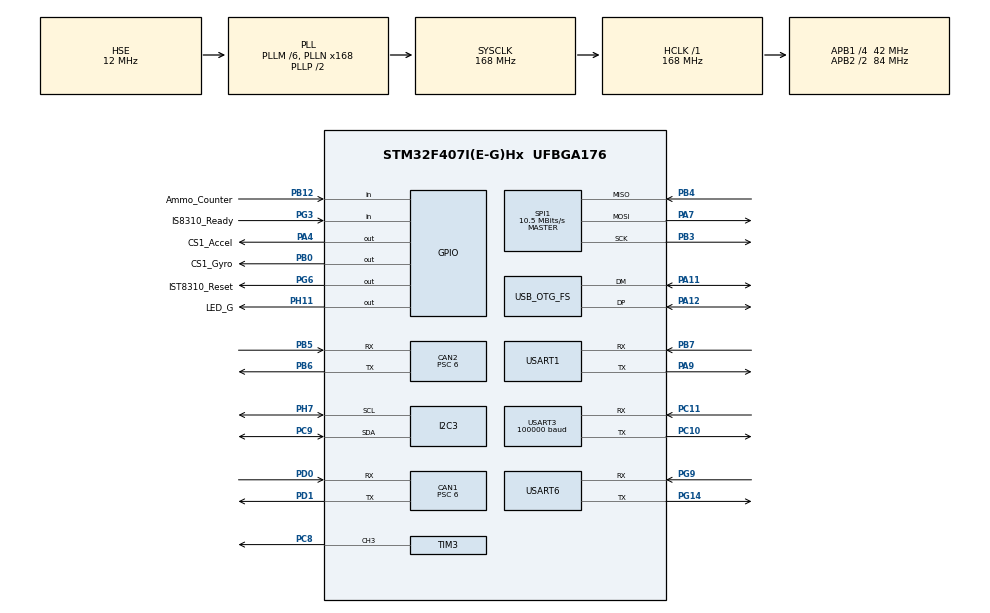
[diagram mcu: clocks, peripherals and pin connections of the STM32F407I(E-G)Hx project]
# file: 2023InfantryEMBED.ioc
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CAN1.ABOM=ENABLE
CAN1.BS1=CAN_BS1_4TQ
CAN1.BS2=CAN_BS2_2TQ
CAN1.CalculateBaudRate=1000000
CAN1.CalculateTimeBit=1000
CAN1.CalculateTimeQuantum=142.85714285714286
CAN1.Prescaler=6
CAN2.ABOM=ENABLE
CAN2.BS1=CAN_BS1_4TQ
CAN2.BS2=CAN_BS2_2TQ
CAN2.CalculateBaudRate=1000000
CAN2.CalculateTimeBit=1000
CAN2.CalculateTimeQuantum=142.85714285714286
CAN2.Prescaler=6
Dma.Request0=USART3_RX
Dma.Request1=USART1_RX
Dma.Request2=USART6_RX
Dma.USART1_RX.1.Direction=DMA_PERIPH_TO_MEMORY
Dma.USART1_RX.1.FIFOMode=DMA_FIFOMODE_DISABLE
Dma.USART1_RX.1.Instance=DMA2_Stream2
Dma.USART1_RX.1.MemDataAlignment=DMA_MDATAALIGN_BYTE
Dma.USART1_RX.1.MemInc=DMA_MINC_ENABLE
Dma.USART1_RX.1.Mode=DMA_CIRCULAR
Dma.USART1_RX.1.PeriphDataAlignment=DMA_PDATAALIGN_BYTE
Dma.USART1_RX.1.PeriphInc=DMA_PINC_DISABLE
Dma.USART1_RX.1.Priority=DMA_PRIORITY_HIGH
Dma.USART3_RX.0.Direction=DMA_PERIPH_TO_MEMORY
Dma.USART3_RX.0.FIFOMode=DMA_FIFOMODE_DISABLE
Dma.USART3_RX.0.Instance=DMA1_Stream1
Dma.USART3_RX.0.MemDataAlignment=DMA_MDATAALIGN_BYTE
Dma.USART3_RX.0.MemInc=DMA_MINC_ENABLE
Dma.USART3_RX.0.Mode=DMA_CIRCULAR
Dma.USART3_RX.0.PeriphDataAlignment=DMA_PDATAALIGN_BYTE
Dma.USART3_RX.0.PeriphInc=DMA_PINC_DISABLE
Dma.USART3_RX.0.Priority=DMA_PRIORITY_VERY_HIGH
Dma.USART6_RX.2.Direction=DMA_PERIPH_TO_MEMORY
Dma.USART6_RX.2.FIFOMode=DMA_FIFOMODE_DISABLE
Dma.USART6_RX.2.Instance=DMA2_Stream1
Dma.USART6_RX.2.MemDataAlignment=DMA_MDATAALIGN_BYTE
Dma.USART6_RX.2.MemInc=DMA_MINC_ENABLE
Dma.USART6_RX.2.Mode=DMA_CIRCULAR
Dma.USART6_RX.2.PeriphDataAlignment=DMA_PDATAALIGN_BYTE
Dma.USART6_RX.2.PeriphInc=DMA_PINC_DISABLE
Dma.USART6_RX.2.Priority=DMA_PRIORITY_VERY_HIGH
FREERTOS.Tasks01=defaultTask,8,128,StartDefaultTask,Default,NULL,Dynamic,NULL,NULL
FREERTOS.configENABLE_FPU=1
FREERTOS.configIDLE_SHOULD_YIELD=0
FREERTOS.configUSE_NEWLIB_REENTRANT=1
FREERTOS.configUSE_PREEMPTION=0
I2C3.I2C_Mode=I2C_Fast
Mcu.Family=STM32F4
Mcu.Name=STM32F407I(E-G)Hx
Mcu.Package=UFBGA176
NVIC.CAN1_RX0_IRQn=true\:5\:0\:false\:false\:true\:true\:true\:true\:true
NVIC.CAN1_RX1_IRQn=true\:5\:0\:false\:false\:true\:true\:true\:true\:true
NVIC.CAN1_SCE_IRQn=true\:5\:0\:false\:false\:true\:true\:true\:true\:true
NVIC.CAN1_TX_IRQn=true\:5\:0\:true\:false\:true\:true\:true\:true\:true
NVIC.CAN2_RX0_IRQn=true\:5\:0\:false\:false\:true\:true\:true\:true\:true
NVIC.CAN2_RX1_IRQn=true\:5\:0\:false\:false\:true\:true\:true\:true\:true
NVIC.CAN2_SCE_IRQn=true\:5\:0\:false\:false\:true\:true\:true\:true\:true
NVIC.CAN2_TX_IRQn=true\:5\:0\:false\:false\:true\:true\:true\:true\:true
NVIC.DMA1_Stream1_IRQn=true\:5\:0\:false\:false\:true\:true\:false\:true\:true
NVIC.DMA2_Stream1_IRQn=true\:5\:0\:false\:false\:true\:true\:false\:true\:true
NVIC.DMA2_Stream2_IRQn=true\:5\:0\:false\:false\:true\:true\:false\:true\:true
NVIC.FLASH_IRQn=true\:5\:0\:false\:false\:true\:true\:true\:true\:true
NVIC.OTG_FS_IRQn=true\:6\:0\:true\:false\:true\:true\:false\:true\:true
NVIC.PriorityGroup=NVIC_PRIORITYGROUP_4
NVIC.RCC_IRQn=true\:5\:0\:false\:false\:true\:true\:true\:false\:true
NVIC.SPI1_IRQn=true\:6\:0\:true\:false\:true\:true\:true\:true\:true
NVIC.TIM5_IRQn=true\:5\:0\:false\:false\:true\:true\:true\:true\:true
NVIC.TIM6_DAC_IRQn=true\:15\:0\:false\:false\:true\:false\:false\:true\:true
NVIC.TimeBase=TIM6_DAC_IRQn
NVIC.TimeBaseIP=TIM6
NVIC.USART1_IRQn=true\:7\:0\:true\:false\:true\:true\:true\:true\:true
NVIC.USART3_IRQn=true\:6\:0\:true\:true\:true\:1\:true\:true\:true\:true
NVIC.USART6_IRQn=true\:6\:0\:true\:false\:true\:true\:true\:true\:true
PA11.Mode=Device_Only
PA11.Signal=USB_OTG_FS_DM
PA12.Mode=Device_Only
PA12.Signal=USB_OTG_FS_DP
PA13.Mode=Serial_Wire
PA13.Signal=SYS_JTMS-SWDIO
PA14.Mode=Serial_Wire
PA14.Signal=SYS_JTCK-SWCLK
PA4.GPIO_Label=CS1_Accel
PA4.GPIO_PuPd=GPIO_PULLUP
PA4.GPIO_Speed=GPIO_SPEED_FREQ_VERY_HIGH
PA4.Signal=GPIO_Output
PA7.Mode=Full_Duplex_Master
PA7.Signal=SPI1_MOSI
PA9.Mode=Asynchronous
PA9.Signal=USART1_TX
PB0.GPIO_Label=CS1_Gyro
PB0.GPIO_PuPd=GPIO_PULLUP
PB0.GPIO_Speed=GPIO_SPEED_FREQ_VERY_HIGH
PB0.Signal=GPIO_Output
PB12.GPIO_Label=Ammo_Counter
PB12.GPIO_PuPd=GPIO_PULLUP
PB12.Signal=GPIO_Input
PB3.Mode=Full_Duplex_Master
PB3.Signal=SPI1_SCK
PB4.Mode=Full_Duplex_Master
PB4.Signal=SPI1_MISO
PB5.Mode=CAN_Activate
PB5.Signal=CAN2_RX
PB6.Mode=CAN_Activate
PB6.Signal=CAN2_TX
PB7.Mode=Asynchronous
PB7.Signal=USART1_RX
PC10.GPIO_PuPd=GPIO_NOPULL
PC10.Mode=Asynchronous
PC10.Signal=USART3_TX
PC11.GPIO_PuPd=GPIO_NOPULL
PC11.Mode=Asynchronous
PC11.Signal=USART3_RX
PC8.Signal=S_TIM3_CH3
PC9.Mode=I2C
PC9.Signal=I2C3_SDA
PD0.Mode=CAN_Activate
PD0.Signal=CAN1_RX
PD1.Mode=CAN_Activate
PD1.Signal=CAN1_TX
PE9.GPIO_Speed=GPIO_SPEED_FREQ_HIGH
PE9.Signal=S_TIM1_CH1
PG14.Mode=Asynchronous
PG14.Signal=USART6_TX
PG3.GPIO_Label=IS8310_Ready
PG3.Signal=GPIO_Input
PG6.GPIO_Label=IST8310_Reset
PG6.GPIO_PuPd=GPIO_PULLUP
PG6.PinState=GPIO_PIN_SET
PG6.Signal=GPIO_Output
PG9.Mode=Asynchronous
PG9.Signal=USART6_RX
PH0-OSC_IN.Mode=HSE-External-Oscillator
PH0-OSC_IN.Signal=RCC_OSC_IN
PH1-OSC_OUT.Mode=HSE-External-Oscillator
PH1-OSC_OUT.Signal=RCC_OSC_OUT
PH11.GPIO_Label=LED_G
PH11.Signal=GPIO_Output
PH7.Mode=I2C
PH7.Signal=I2C3_SCL
ProjectManager.HeapSize=0x200
ProjectManager.StackSize=0x400
ProjectManager.TargetToolchain=STM32CubeIDE
RCC.48MHZClocksFreq_Value=48000000
RCC.AHBFreq_Value=168000000
RCC.APB1CLKDivider=RCC_HCLK_DIV4
RCC.APB1Freq_Value=42000000
RCC.APB1TimFreq_Value=84000000
RCC.APB2CLKDivider=RCC_HCLK_DIV2
RCC.APB2Freq_Value=84000000
RCC.APB2TimFreq_Value=168000000
RCC.CortexFreq_Value=168000000
RCC.HCLKFreq_Value=168000000
RCC.HSE_VALUE=12000000
RCC.HSI_VALUE=16000000
RCC.LSE_VALUE=32768
RCC.PLLM=6
RCC.PLLN=168
RCC.PLLQ=7
RCC.SYSCLKFreq_VALUE=168000000
RCC.SYSCLKSource=RCC_SYSCLKSOURCE_PLLCLK
RCC.VCOOutputFreq_Value=336000000
SH.S_TIM1_CH1.0=TIM1_CH1
SH.S_TIM3_CH3.0=TIM3_CH3,PWM Generation3 CH3
SPI1.BaudRatePrescaler=SPI_BAUDRATEPRESCALER_8
SPI1.CLKPhase=SPI_PHASE_2EDGE
SPI1.CLKPolarity=SPI_POLARITY_HIGH
SPI1.CalculateBaudRate=10.5 MBits/s
SPI1.Direction=SPI_DIRECTION_2LINES
SPI1.Mode=SPI_MODE_MASTER
SPI1.VirtualType=VM_MASTER
TIM3.Channel-PWM\ Generation3\ CH3=TIM_CHANNEL_3
TIM3.Prescaler=168-1
TIM5.AutoReloadPreload=TIM_AUTORELOAD_PRELOAD_DISABLE
TIM5.Period=500-1
TIM5.Prescaler=168-1
USART1.VirtualMode=VM_ASYNC
USART3.BaudRate=100000
USART3.Mode=MODE_RX
USART3.Parity=PARITY_EVEN
USART3.VirtualMode=VM_ASYNC
USART3.WordLength=WORDLENGTH_9B
USART6.VirtualMode=VM_ASYNC
USB_DEVICE.CLASS_NAME_FS=CDC
USB_DEVICE.VirtualMode-CDC_FS=Cdc
USB_DEVICE.VirtualModeFS=Cdc_FS
USB_OTG_FS.VirtualMode=Device_Only
VP_FREERTOS_VS_CMSIS_V2.Mode=CMSIS_V2
VP_SYS_VS_tim6.Mode=TIM6
VP_TIM3_VS_ClockSourceINT.Mode=Internal
VP_TIM5_VS_ClockSourceINT.Mode=Internal
VP_USB_DEVICE_VS_USB_DEVICE_CDC_FS.Mode=CDC_FS
board=custom

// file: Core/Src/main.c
/* USER CODE BEGIN Header */
/**
  ******************************************************************************
  * @file           : main.c
  * @brief          : Main program body
  ******************************************************************************
  * @attention
  *
  * Copyright (c) 2023 STMicroelectronics.
  * All rights reserved.
  *
  * This software is licensed under terms that can be found in the LICENSE file
  * in the root directory of this software component.
  * If no LICENSE file comes with this software, it is provided AS-IS.
  *
  ******************************************************************************
  */
/* USER CODE END Header */
#include "main.h"
#include "cmsis_os.h"
#include "can.h"
#include "dma.h"
#include "i2c.h"
#include "spi.h"
#include "tim.h"
#include "usart.h"
#include "usb_device.h"
#include "gpio.h"

/* USER CODE BEGIN Includes */

#include "../Core/Instance/IMU/imu.h"
#include "../Core/Algorithm/solveTrajectory/SolveTrajectory.h"
#include "../Core/Instance/referee/referee.h"
#include "../Core/Instance/remote/remote.h"
#include "../Core/Instance/SIN/sin.h"
/* USER CODE END Includes */

void SystemClock_Config(void);
void MX_FREERTOS_Init(void);
static void MX_NVIC_Init(void);
/* USER CODE BEGIN PFP */
void Can_Filter1Config(void);
void HAL_TIM_PeriodElapsedCallback(TIM_HandleTypeDef *htim);
extern void ControlInit();
extern void CanInit(void);
extern void MotorInit(void);
extern void GimbalInit(void);
extern void CANBusInit(void);
extern void ChassisInit(void);
extern void UI_taskInit(void);

/* USER CODE END PFP */

int main(void)
{

  /* MCU Configuration--------------------------------------------------------*/

  /* Reset of all peripherals, Initializes the Flash interface and the Systick. */
  HAL_Init();

  /* Configure the system clock */
  SystemClock_Config();

  /* Initialize all configured peripherals */
  MX_GPIO_Init();
  MX_DMA_Init();
  MX_USART1_UART_Init();
  MX_CAN1_Init();
  MX_TIM5_Init();
  MX_SPI1_Init();
  MX_USART3_UART_Init();
  MX_I2C3_Init();
  MX_USART6_UART_Init();
  MX_TIM3_Init();
  MX_CAN2_Init();

  /* Initialize interrupts */
  MX_NVIC_Init();
  /* USER CODE BEGIN 2 */
  HAL_CAN_ActivateNotification(&hcan1, CAN_IT_RX_FIFO0_MSG_PENDING);
  HAL_CAN_Start(&hcan1);
  #ifdef USE_CAN2
    HAL_CAN_ActivateNotification(&hcan2, CAN_IT_RX_FIFO0_MSG_PENDING);
    HAL_CAN_Start(&hcan2);
  #endif
  /* 模块初始化 */
  MotorInit();
  CanInit();
  IMUInit();
  RemoteInit();
  RefereeInit();
  /* 任务初始化 */
  ControlInit();
  CANBusInit();
  GimbalInit();
  ChassisInit();
  UI_taskInit();
  /* USER CODE END 2 */

  /* Init scheduler */
  osKernelInitialize();  /* Call init function for freertos objects (in freertos.c) */
  MX_FREERTOS_Init();

  /* Start scheduler */
  osKernelStart();

  /* We should never get here as control is now taken by the scheduler */
  /* Infinite loop */
  /* USER CODE BEGIN WHILE */
  while (1)
  {

	  HAL_GPIO_TogglePin(LED_G_GPIO_Port, LED_G_Pin);
	  HAL_Delay(500);

    /* USER CODE END WHILE */

  }
}

void SystemClock_Config(void)
{
  RCC_OscInitTypeDef RCC_OscInitStruct = {0};
  RCC_ClkInitTypeDef RCC_ClkInitStruct = {0};

  /** Configure the main internal regulator output voltage
  */
  __HAL_RCC_PWR_CLK_ENABLE();
  __HAL_PWR_VOLTAGESCALING_CONFIG(PWR_REGULATOR_VOLTAGE_SCALE1);

  /** Initializes the RCC Oscillators according to the specified parameters
  * in the RCC_OscInitTypeDef structure.
  */
  RCC_OscInitStruct.OscillatorType = RCC_OSCILLATORTYPE_HSE;
  RCC_OscInitStruct.HSEState = RCC_HSE_ON;
  RCC_OscInitStruct.PLL.PLLState = RCC_PLL_ON;
  RCC_OscInitStruct.PLL.PLLSource = RCC_PLLSOURCE_HSE;
  RCC_OscInitStruct.PLL.PLLM = 6;
  RCC_OscInitStruct.PLL.PLLN = 168;
  RCC_OscInitStruct.PLL.PLLP = RCC_PLLP_DIV2;
  RCC_OscInitStruct.PLL.PLLQ = 7;
  if (HAL_RCC_OscConfig(&RCC_OscInitStruct) != HAL_OK)
  {
    Error_Handler();
  }

  /** Initializes the CPU, AHB and APB buses clocks
  */
  RCC_ClkInitStruct.ClockType = RCC_CLOCKTYPE_HCLK|RCC_CLOCKTYPE_SYSCLK
                              |RCC_CLOCKTYPE_PCLK1|RCC_CLOCKTYPE_PCLK2;
  RCC_ClkInitStruct.SYSCLKSource = RCC_SYSCLKSOURCE_PLLCLK;
  RCC_ClkInitStruct.AHBCLKDivider = RCC_SYSCLK_DIV1;
  RCC_ClkInitStruct.APB1CLKDivider = RCC_HCLK_DIV4;
  RCC_ClkInitStruct.APB2CLKDivider = RCC_HCLK_DIV2;

  if (HAL_RCC_ClockConfig(&RCC_ClkInitStruct, FLASH_LATENCY_5) != HAL_OK)
  {
    Error_Handler();
  }
}

/**
  * @brief NVIC Configuration.
  * @retval None
  */
static void MX_NVIC_Init(void)
{
  /* USART3_IRQn interrupt configuration */
  HAL_NVIC_SetPriority(USART3_IRQn, 6, 0);
  HAL_NVIC_EnableIRQ(USART3_IRQn);
}

/* USER CODE BEGIN 4 */

void PWM_INIT(){
	  HAL_TIM_Base_Start(&htim3);
	  HAL_TIM_PWM_Start(&htim3, TIM_CHANNEL_3);
}
/* USER CODE END 4 */

void HAL_TIM_PeriodElapsedCallback(TIM_HandleTypeDef *htim)
{
  /* USER CODE BEGIN Callback 0 */
  if(htim->Instance == TIM5)
  {

  }
  /* USER CODE END Callback 0 */
  if (htim->Instance == TIM6) {
    HAL_IncTick();
  }
}

void Error_Handler(void)
{
  __disable_irq();
  while (1)
  {
  }
}

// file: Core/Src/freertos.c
/* USER CODE BEGIN Header */
/**
  ******************************************************************************
  * File Name          : freertos.c
  * Description        : Code for freertos applications
  ******************************************************************************
  * @attention
  *
  * Copyright (c) 2023 STMicroelectronics.
  * All rights reserved.
  *
  * This software is licensed under terms that can be found in the LICENSE file
  * in the root directory of this software component.
  * If no LICENSE file comes with this software, it is provided AS-IS.
  *
  ******************************************************************************
  */
/* USER CODE END Header */

#include "FreeRTOS.h"
#include "task.h"
#include "main.h"
#include "cmsis_os.h"

/* USER CODE BEGIN Includes */
#include "usart.h"
#include "can.h"
#include "tim.h"
#include "spi.h"
#include "gpio.h"
#include "../Core/Instance/remote/remote.h"
#include "../Core/Algorithm/mahonyAHRS/MahonyAHRS.h"
#include "math.h"
#include "string.h"
#include "../Core/Instance/referee/referee.h"
#include "../Core/Instance/Serial/Serial.h"
#include <stdlib.h>
#include "../Core/Algorithm/solveTrajectory/SolveTrajectory.h"
#include "../Core/Application/CanBus/CanBus.h"
#include "../Core/Application/Control/Control.h"
/* USER CODE END Includes */

/* USER CODE BEGIN PD */
#define REMOTE_OR_KEYBORAD 0//选择遥控器或键鼠控制
extern uint32_t count;
/* USER CODE END PD */

/* Definitions for defaultTask */
osThreadId_t defaultTaskHandle;
const osThreadAttr_t defaultTask_attributes = {
  .name = "defaultTask",
  .stack_size = 128 * 4,
  .priority = (osPriority_t) osPriorityLow,
};

void StartDefaultTask(void *argument);

extern void MX_USB_DEVICE_Init(void);
void MX_FREERTOS_Init(void); /* (MISRA C 2004 rule 8.1) */

void MX_FREERTOS_Init(void) {
/* USER CODE BEGIN Header */
/**
  ******************************************************************************
  * File Name          : freertos.c
  * Description        : Code for freertos applications
  ******************************************************************************
  * @attention
  *
  * Copyright (c) 2023 STMicroelectronics.
  * All rights reserved.
  *
  * This software is licensed under terms that can be found in the LICENSE file
  * in the root directory of this software component.
  * If no LICENSE file comes with this software, it is provided AS-IS.
  *
  ******************************************************************************
  */
/* USER CODE END Header */

}

void StartDefaultTask(void *argument)
{
  /* init code for USB_DEVICE */
  MX_USB_DEVICE_Init();
  /* USER CODE BEGIN StartDefaultTask */
  /* Infinite loop */
  for(;;)
  {
    osDelay(1);
//	HAL_GPIO_TogglePin(LED_G_GPIO_Port, LED_G_Pin);
  }
  /* USER CODE END StartDefaultTask */
}
